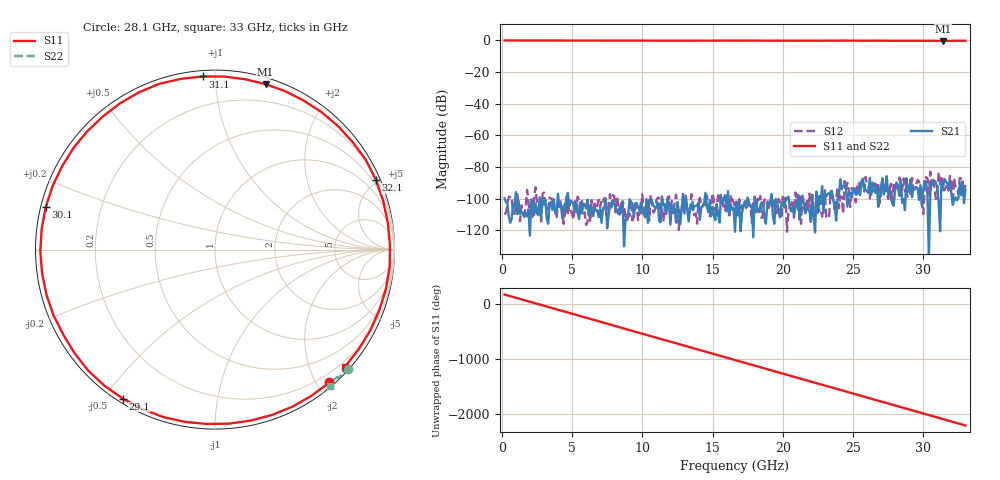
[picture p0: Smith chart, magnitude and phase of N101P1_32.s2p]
# GHZ S RI R 50
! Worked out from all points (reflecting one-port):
!   329 points, 200 MHz to 33 GHz, reference 50 ohm
!   lowest |S11| = -0.3 dB at 31.4 GHz (marker M1), VSWR 54.16, Z = 2.61 + j67.5 ohm
!   phase of S11 starts at 165 deg and turns -2367 deg over the sweep
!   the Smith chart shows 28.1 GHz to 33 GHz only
!   S11 on the Smith chart (normalised r, x): 28.1 GHz: 0.07, -2.18; 29.1 GHz: 0.02, -0.56; 30.1 GHz: 0.01, +0.12; 31.1 GHz: 0.03, +0.93; 32.1 GHz: 0.28, +4.80; 33 GHz: 0.10, -2.60
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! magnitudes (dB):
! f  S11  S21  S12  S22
! 200 MHz  0.0  -99.7  -110.2  0.0
! 5.7 GHz  -0.1  -109.1  -101.5  0.0
! 11.2 GHz  -0.2  -113.7  -99.8  0.0
! 16.6 GHz  -0.1  -120.8  -104.9  0.0
! 19.9 GHz  -0.2  -104.0  -112.5  -0.1
! 22.1 GHz  -0.2  -98.2  -97.5  -0.1
! 22.7 GHz  -0.2  -103.4  -106.7  -0.1
! 23.3 GHz  -0.1  -96.4  -111.9  0.0
! 23.5 GHz  -0.2  -95.0  -99.5  -0.1
! 23.8 GHz  -0.2  -113.8  -100.8  0.1
! 24.1 GHz  0.0  -87.8  -98.4  0.1
! 24.9 GHz  -0.1  -99.3  -93.3  0.0
! 25.5 GHz  -0.2  -97.1  -97.6  0.0
! 27.6 GHz  -0.2  -95.1  -94.9  0.0
! 28.1 GHz  -0.2  -89.8  -93.6  -0.1
! 29.1 GHz  -0.2  -87.9  -97.1  -0.1
! 30.1 GHz  -0.2  -88.7  -95.2  -0.1
! 31.1 GHz  -0.3  -103.1  -83.4  -0.1
! 31.4 GHz  -0.3  -94.3  -94.8  -0.2
! 31.9 GHz  -0.2  -89.3  -85.6  -0.2
! 32.1 GHz  -0.2  -103.9  -103.3  -0.1
! 33 GHz  -0.2  -94.5  -91.3  -0.1
